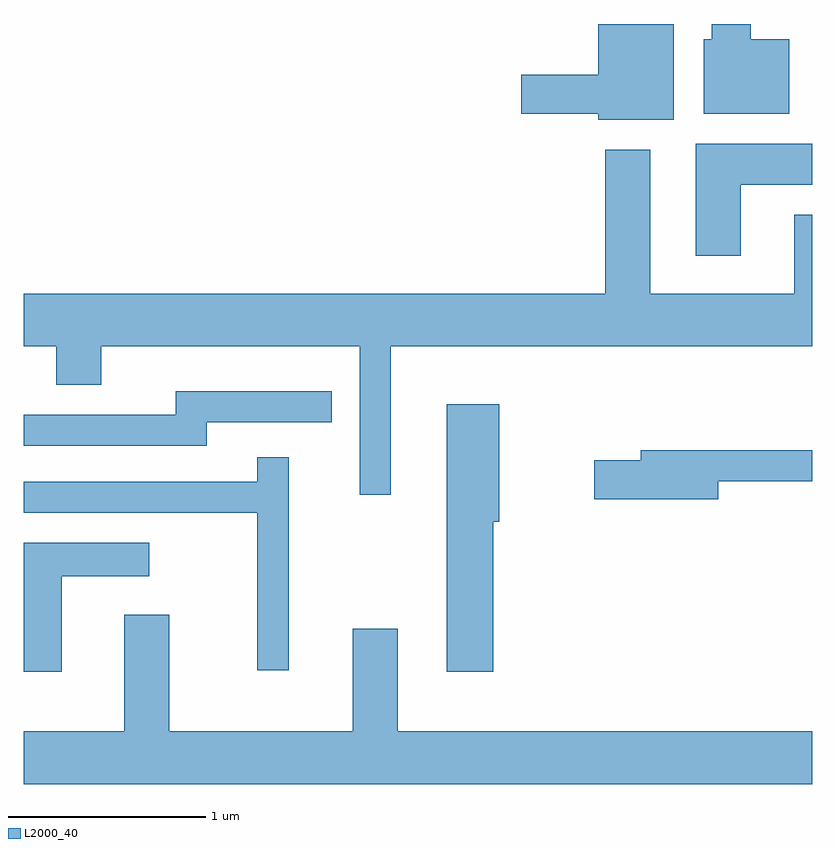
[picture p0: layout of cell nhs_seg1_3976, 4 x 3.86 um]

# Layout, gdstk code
import gdstk
lib = gdstk.Library(unit=1e-6, precision=1e-09)
def P(c, l, *ps):  # polygons
    for p in ps: c.add(gdstk.Polygon(p, *l))
L2000_40 = (2000, 40)

nhs_seg1_3976 = lib.new_cell('nhs_seg1_3976')
P(nhs_seg1_3976, L2000_40, [(308.909,845.712),(308.526,845.712),(308.526,845.454),(308.136,845.454),(308.136,845.256),(308.526,845.256),(308.526,845.226),(308.909,845.226)],
  [(309.494,845.634),(309.299,845.634),(309.299,845.712),(309.101,845.712),(309.101,845.634),(309.061,845.634),(309.061,845.256),(309.494,845.256)],
  [(309.249,844.896),(309.611,844.896),(309.611,845.104),(309.021,845.104),(309.021,844.536),(309.249,844.536)],
  [(307.474,844.076),(309.611,844.076),(309.611,844.744),(309.521,844.744),(309.521,844.344),(308.789,844.344),(308.789,845.074),(308.561,845.074),(308.561,844.344),(305.611,844.344),(305.611,844.076),(305.776,844.076),(305.776,843.881),(306.004,843.881),(306.004,844.076),(307.316,844.076),(307.316,843.323),(307.474,843.323)],
  [(306.539,843.691),(307.173,843.691),(307.173,843.849),(306.381,843.849),(306.381,843.729),(305.611,843.729),(305.611,843.571),(306.539,843.571)],
  [(307.994,843.186),(308.024,843.186),(308.024,843.784),(307.756,843.784),(307.756,842.426),(307.994,842.426)],
  [(309.134,843.391),(309.611,843.391),(309.611,843.549),(308.741,843.549),(308.741,843.499),(308.506,843.499),(308.506,843.301),(309.134,843.301)],
  [(306.954,843.513),(306.796,843.513),(306.796,843.389),(305.611,843.389),(305.611,843.231),(306.796,843.231),(306.796,842.433),(306.954,842.433)],
  [(305.804,842.911),(306.248,842.911),(306.248,843.079),(305.611,843.079),(305.611,842.426),(305.804,842.426)],
  [(309.611,842.124),(307.509,842.124),(307.509,842.644),(307.281,842.644),(307.281,842.124),(306.349,842.124),(306.349,842.714),(306.121,842.714),(306.121,842.124),(305.611,842.124),(305.611,841.856),(309.611,841.856)])

lib.write_gds('nhs_seg1_3976.gds')
